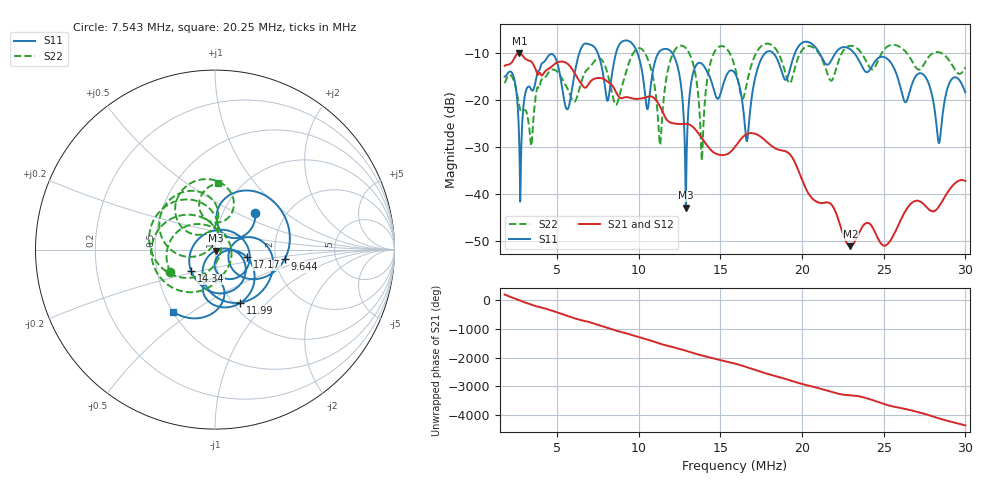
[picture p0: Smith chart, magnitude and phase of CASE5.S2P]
!Agilent Technologies,E5061B,MY49101568,A.02.00
!Date: Wed Mar 01 14:25:57 2023
!Data & Calibration Information:
!Freq	S11:SOLT2(OFF)	S21:SOLT2(OFF)	S12:SOLT2(OFF)	S22:SOLT2(OFF)
# Hz S dB R 50
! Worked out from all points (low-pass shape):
!   1155 points, 1.8 MHz to 30 MHz, reference 50 ohm
!   highest |S21| = -10.02 dB at 2.704 MHz (marker M1); lowest = -51.1 dB at 22.96 MHz (marker M2)
!   |S21| within 3 dB of the highest: start of sweep to 3.639 MHz; 4.639 MHz to 5.849 MHz (1.21 MHz wide, 23.1 % of centre)
!   lowest |S11| = -43.0 dB at 12.89 MHz (marker M3), VSWR 1.01, Z = 50.5 - j0.523 ohm
!   |S11| at or under -10 dB: start of sweep to 6.374 MHz; 12.05 MHz to 17.75 MHz (5.701 MHz wide, 38.3 % of centre); 23.19 MHz to end of sweep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
!   |S22| runs from -32.9 to -8.0 dB; largest |S21 - S12| = 0.0041
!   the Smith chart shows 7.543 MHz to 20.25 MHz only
!   S11 on the Smith chart (normalised r, x): 7.543 MHz: 1.42, +0.63; 9.644 MHz: 2.25, -0.28; 11.99 MHz: 1.08, -0.72; 14.34 MHz: 0.75, -0.19; 17.17 MHz: 1.43, -0.13; 20.25 MHz: 0.50, -0.42
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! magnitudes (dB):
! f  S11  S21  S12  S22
! 1.8 MHz  -15.0  -12.7  -12.7  -16.4
! 2.704 MHz  -30.3  -10.0  -10.0  -21.4
! 4.097 MHz  -12.2  -14.8  -14.8  -15.6
! 6.516 MHz  -8.8  -16.7  -16.7  -15.9
! 7.543 MHz  -10.4  -15.3  -15.3  -11.1
! 8.618 MHz  -10.0  -18.3  -18.3  -21.1
! 9.644 MHz  -8.1  -19.7  -19.7  -10.2
! 10.52 MHz  -22.0  -19.4  -19.4  -11.0
! 11.21 MHz  -10.0  -20.8  -20.8  -25.0
! 11.99 MHz  -9.7  -24.9  -24.9  -11.1
! 12.89 MHz  -43.0  -25.1  -25.2  -9.0
! 13.87 MHz  -12.3  -28.2  -28.2  -32.9
! 14.34 MHz  -14.9  -30.3  -30.3  -13.0
! 15.9 MHz  -14.3  -30.0  -30.1  -13.1
! 16.63 MHz  -28.8  -27.2  -27.3  -16.3
! 17.17 MHz  -14.7  -27.3  -27.3  -10.2
! 20.25 MHz  -7.6  -39.0  -39.0  -8.7
! 20.62 MHz  -8.1  -40.9  -40.9  -8.7
! 22.96 MHz  -9.2  -51.1  -51.0  -8.5
! 25.31 MHz  -11.5  -50.4  -50.3  -8.5
! 28.39 MHz  -29.2  -42.7  -42.6  -9.9
! 30 MHz  -18.4  -37.3  -37.2  -13.0
